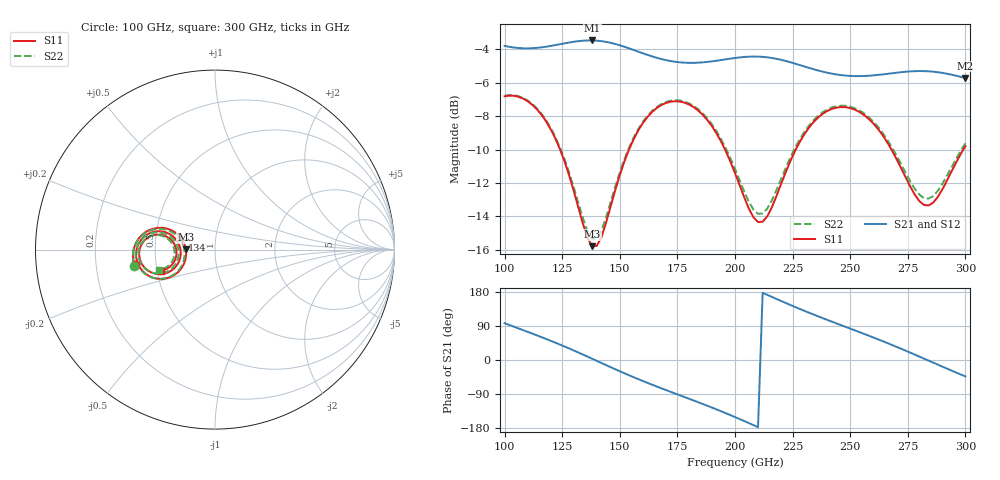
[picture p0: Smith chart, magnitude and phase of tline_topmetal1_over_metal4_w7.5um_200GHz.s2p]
#  GHZ S DB R 50
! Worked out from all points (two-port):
!   101 points, 100 GHz to 300 GHz, reference 50 ohm
!   highest |S21| = -3.47 dB at 138 GHz (marker M1); lowest = -5.7 dB at 300 GHz (marker M2)
!   |S21| within 3 dB of the highest: start of sweep to end of sweep
!   lowest |S11| = -15.8 dB at 138 GHz (marker M3), VSWR 1.39, Z = 36 + j0.113 ohm
!   |S11| at or under -10 dB: 124.1 GHz to 154 GHz (29.92 GHz wide, 21.5 % of centre); 195.7 GHz to 226.4 GHz (30.71 GHz wide, 14.6 % of centre); 267.9 GHz to 299.1 GHz (31.22 GHz wide, 11 % of centre)
!   |S22| runs from -15.4 to -6.7 dB; largest |S21 - S12| = 7.3e-14
!   S11 on the Smith chart (normalised r, x): 100 GHz: 0.38, -0.08; 134 GHz: 0.69, +0.08; 300 GHz: 0.52, -0.14
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100  -6.82 -169.4  -3.79 97.1  -3.79 97.1  -6.79 -168.8
108  -6.95 178.0  -3.94 78.9  -3.94 78.9  -6.91 178.7
118  -8.31 163.7  -3.84 55.6  -3.84 55.6  -8.25 164.8
126  -10.71 156.4  -3.64 35.7  -3.64 35.7  -10.58 157.9
134  -14.45 163.7  -3.49 14.4  -3.49 14.4  -14.13 165.3
138  -15.78 179.5  -3.47 3.3  -3.47 3.3  -15.35 -179.8
142  -15.25 -161.9  -3.51 -7.8  -3.51 -7.8  -14.87 -162.4
146  -13.41 -150.9  -3.61 -18.8  -3.61 -18.8  -13.17 -151.8
154  -10.00 -149.5  -3.94 -40.3  -3.94 -40.3  -9.89 -150.1
168  -7.34 -166.3  -4.58 -74.6  -4.58 -74.6  -7.28 -166.1
184  -7.66 172.2  -4.80 -111.4  -4.80 -111.4  -7.59 173.0
200  -11.41 161.0  -4.52 -150.6  -4.52 -150.6  -11.17 162.6
208  -14.06 174.1  -4.43 -171.8  -4.43 -171.8  -13.60 175.0
212  -14.32 -172.8  -4.45 177.4  -4.45 177.4  -13.83 -172.9
224  -10.70 -154.1  -4.78 145.3  -4.78 145.3  -10.49 -155.3
234  -8.37 -160.9  -5.19 120.2  -5.19 120.2  -8.26 -161.6
252  -7.61 178.1  -5.60 78.2  -5.60 78.2  -7.53 178.1
268  -10.02 164.7  -5.44 40.0  -5.44 40.0  -9.85 165.5
276  -12.20 168.3  -5.32 19.6  -5.32 19.6  -11.89 169.1
284  -13.35 -175.1  -5.32 -1.6  -5.32 -1.6  -12.94 -175.5
292  -11.86 -160.5  -5.46 -22.8  -5.46 -22.8  -11.57 -161.8
300  -9.80 -158.9  -5.72 -43.3  -5.72 -43.3  -9.63 -160.2
